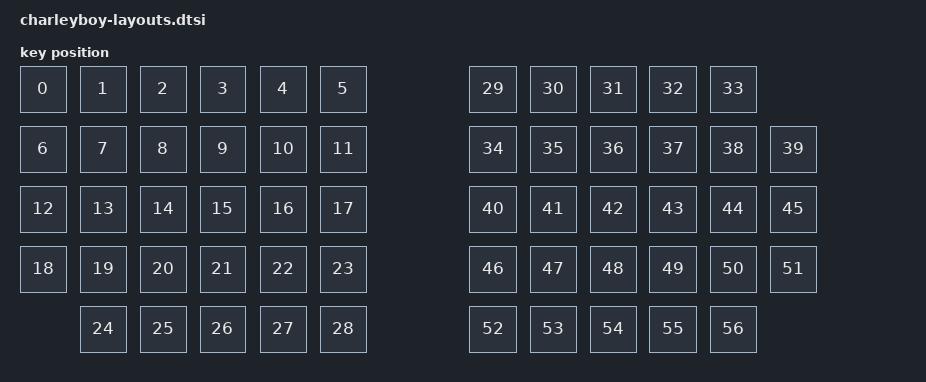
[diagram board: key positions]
#include <physical_layouts.dtsi>

/ {
    default_layout: default_layout {
        compatible = "zmk,physical-layout";
        display-name = "Default Layout";

        keys  //                     w   h    x    y     rot    rx    ry
            = <&key_physical_attrs 100 100    0    0       0     0     0>
            , <&key_physical_attrs 100 100  120    0       0     0     0>
            , <&key_physical_attrs 100 100  240    0       0     0     0>
            , <&key_physical_attrs 100 100  360    0       0     0     0>
            , <&key_physical_attrs 100 100  480    0       0     0     0>
            , <&key_physical_attrs 100 100  600    0       0     0     0>

            , <&key_physical_attrs 100 100    0  120       0     0     0>
            , <&key_physical_attrs 100 100  120  120       0     0     0>
            , <&key_physical_attrs 100 100  240  120       0     0     0>
            , <&key_physical_attrs 100 100  360  120       0     0     0>
            , <&key_physical_attrs 100 100  480  120       0     0     0>
            , <&key_physical_attrs 100 100  600  120       0     0     0>

            , <&key_physical_attrs 100 100    0  240       0     0     0>
            , <&key_physical_attrs 100 100  120  240       0     0     0>
            , <&key_physical_attrs 100 100  240  240       0     0     0>
            , <&key_physical_attrs 100 100  360  240       0     0     0>
            , <&key_physical_attrs 100 100  480  240       0     0     0>
            , <&key_physical_attrs 100 100  600  240       0     0     0>

            , <&key_physical_attrs 100 100    0  360       0     0     0>
            , <&key_physical_attrs 100 100  120  360       0     0     0>
            , <&key_physical_attrs 100 100  240  360       0     0     0>
            , <&key_physical_attrs 100 100  360  360       0     0     0>
            , <&key_physical_attrs 100 100  480  360       0     0     0>
            , <&key_physical_attrs 100 100  600  360       0     0     0>

            , <&key_physical_attrs 100 100  120  480       0     0     0>
            , <&key_physical_attrs 100 100  240  480       0     0     0>
            , <&key_physical_attrs 100 100  360  480       0     0     0>
            , <&key_physical_attrs 100 100  480  480       0     0     0>
            , <&key_physical_attrs 100 100  600  480       0     0     0>

            , <&key_physical_attrs 100 100  900    0       0     0     0>
            , <&key_physical_attrs 100 100  1020   0       0     0     0>
            , <&key_physical_attrs 100 100  1140   0       0     0     0>
            , <&key_physical_attrs 100 100  1260   0       0     0     0>
            , <&key_physical_attrs 100 100  1380   0       0     0     0>

            , <&key_physical_attrs 100 100  900  120       0     0     0>
            , <&key_physical_attrs 100 100  1020 120       0     0     0>
            , <&key_physical_attrs 100 100  1140 120       0     0     0>
            , <&key_physical_attrs 100 100  1260 120       0     0     0>
            , <&key_physical_attrs 100 100  1380 120       0     0     0>
            , <&key_physical_attrs 100 100  1500 120       0     0     0>

            , <&key_physical_attrs 100 100  900  240       0     0     0>
            , <&key_physical_attrs 100 100  1020 240       0     0     0>
            , <&key_physical_attrs 100 100  1140 240       0     0     0>
            , <&key_physical_attrs 100 100  1260 240       0     0     0>
            , <&key_physical_attrs 100 100  1380 240       0     0     0>
            , <&key_physical_attrs 100 100  1500 240       0     0     0>

            , <&key_physical_attrs 100 100  900  360       0     0     0>
            , <&key_physical_attrs 100 100  1020 360       0     0     0>
            , <&key_physical_attrs 100 100  1140 360       0     0     0>
            , <&key_physical_attrs 100 100  1260 360       0     0     0>
            , <&key_physical_attrs 100 100  1380 360       0     0     0>
            , <&key_physical_attrs 100 100  1500 360       0     0     0>

            , <&key_physical_attrs 100 100  900  480       0     0     0>
            , <&key_physical_attrs 100 100  1020 480       0     0     0>
            , <&key_physical_attrs 100 100  1140 480       0     0     0>
            , <&key_physical_attrs 100 100  1260 480       0     0     0>
            , <&key_physical_attrs 100 100  1380 480       0     0     0>
            ;

    };
};
